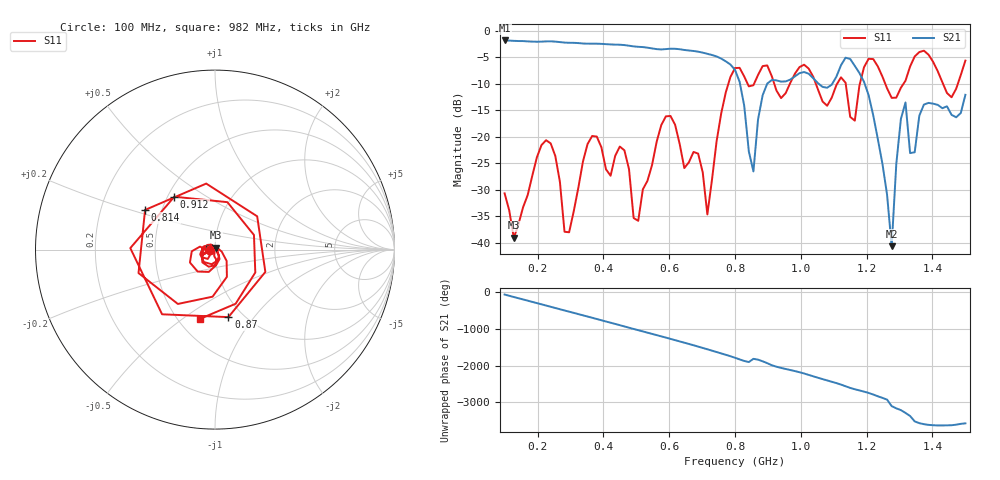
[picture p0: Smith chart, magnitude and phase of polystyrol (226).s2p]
! NanoVNA-App
! Date: 2025-09-25 15:31:39
! Start: 100MHz Stop: 1,5GHz Points: 101
! S-Parameter data: F S11 S21 S12 S22
# Hz S RI R 50
!  Frequency  S11_Real  S11_Imag  S21_Real  S21_Imag  S12_Real  S12_Imag  S22_Real  S22_Imag
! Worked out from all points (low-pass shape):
!   101 points, 100 MHz to 1.5 GHz, reference 50 ohm
!   highest |S21| = -1.80 dB at 100 MHz (marker M1); lowest = -40.7 dB at 1.276 GHz (marker M2)
!   |S21| within 3 dB of the highest: start of sweep to 743 MHz
!   lowest |S11| = -39.1 dB at 128 MHz (marker M3), VSWR 1.02, Z = 50.3 + j1.06 ohm
!   |S11| at or under -10 dB: start of sweep to 779.8 MHz; 1.046 GHz to 1.11 GHz (64.5 MHz wide, 5.98 % of centre); 1.257 GHz to 1.312 GHz (55.19 MHz wide, 4.3 % of centre) (the widest 3 of 7)
!   S12 and S22 are empty: the file has one direction only
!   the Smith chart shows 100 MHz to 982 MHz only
!   S11 on the Smith chart (normalised r, x): 100 MHz: 0.94, -0.01; 814 MHz: 0.40, +0.22; 870 MHz: 0.85, -0.75; 912 MHz: 0.54, +0.37; 982 MHz: 0.64, -0.58
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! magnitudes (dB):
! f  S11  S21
! 100 MHz  -30.7  -1.8
! 128 MHz  -39.1  -1.9
! 212 MHz  -21.6  -2.0
! 282 MHz  -38.0  -2.2
! 338 MHz  -24.7  -2.4
! 464 MHz  -22.6  -2.7
! 506 MHz  -35.9  -3.0
! 576 MHz  -17.8  -3.5
! 716 MHz  -34.7  -4.3
! 800 MHz  -7.0  -7.4
! 814 MHz  -7.0  -9.6
! 856 MHz  -10.3  -26.6
! 870 MHz  -8.3  -16.7
! 912 MHz  -8.6  -9.3
! 982 MHz  -8.1  -8.6
! 1.038 GHz  -8.7  -9.0
! 1.164 GHz  -17.0  -6.6
! 1.192 GHz  -6.9  -9.6
! 1.276 GHz  -12.6  -40.7
! 1.318 GHz  -9.4  -13.5
! 1.332 GHz  -6.7  -23.1
! 1.5 GHz  -5.6  -12.1
